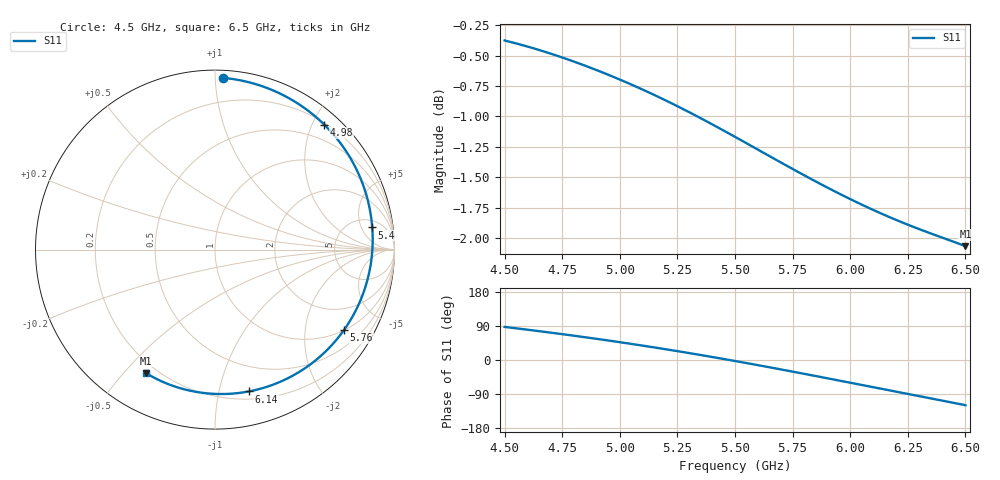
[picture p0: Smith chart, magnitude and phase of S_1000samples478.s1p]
! TOUCHSTONE file generated by CST MICROWAVE STUDIO
! Date and time: Fri Oct 28 07:22:59 2022
! Project name: L.cst
! Parameters = {Di=1.27; Epsilon_r=1.56; InnerDiameter=1.27; Length=2; Lf=10; Lg=60; OuterConductorThickness=0.2921; OuterDiameter=3.6; Wf=3; Wp=41.2; de=1.5; df=6.8; g=0.8; gx=2.53667; gy=2.86553; h=2.34; hf=1.524; px=8.42499; py=11.6041; w=9.7; wx=5.88832; wy=8.73859}
! Header version: 2018
! Port assignment regex: !\s*Touchstone port\s*([0-9]+)\s*=\s*(CST MWS port|CST DS port)\s*([0-9]+|Zmin|Zmax)\s*\(\"(.*)\"\)(\s*mode\s*([0-9]+))?.*
! Touchstone port assignment:
! Touchstone port 1 = CST MWS port 1 ("")
# GHz S DB R 50
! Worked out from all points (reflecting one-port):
!   101 points, 4.5 GHz to 6.5 GHz, reference 50 ohm
!   lowest |S11| = -2.1 dB at 6.5 GHz (marker M1), VSWR 8.44, Z = 7.92 - j28.8 ohm
!   phase of S11 starts at 87 deg and turns -207 deg over the sweep
!   S11 on the Smith chart (normalised r, x): 4.5 GHz: 0.05, +1.05; 4.98 GHz: 0.23, +2.19; 5.4 GHz: 7, +8; 5.76 GHz: 1.02, -3.21; 6.14 GHz: 0.27, -1.23; 6.5 GHz: 0.16, -0.58
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4.5  -0.37 87.3
4.64  -0.45 76.8
4.76  -0.52 67.4
4.88  -0.60 57.5
4.98  -0.68 48.8
5  -0.70 47.0
5.06  -0.75 41.5
5.14  -0.81 34.1
5.26  -0.93 22.4
5.34  -1.00 14.3
5.4  -1.06 8.0
5.5  -1.17 -2.7
5.56  -1.23 -9.2
5.62  -1.29 -15.9
5.68  -1.36 -22.7
5.76  -1.44 -31.8
5.82  -1.50 -38.8
5.88  -1.56 -45.8
5.94  -1.62 -52.9
6  -1.68 -59.9
6.08  -1.75 -69.4
6.14  -1.80 -76.5
6.2  -1.85 -83.6
6.26  -1.90 -90.7
6.32  -1.94 -97.8
6.38  -1.98 -104.9
6.44  -2.03 -112.0
6.5  -2.07 -119.2
